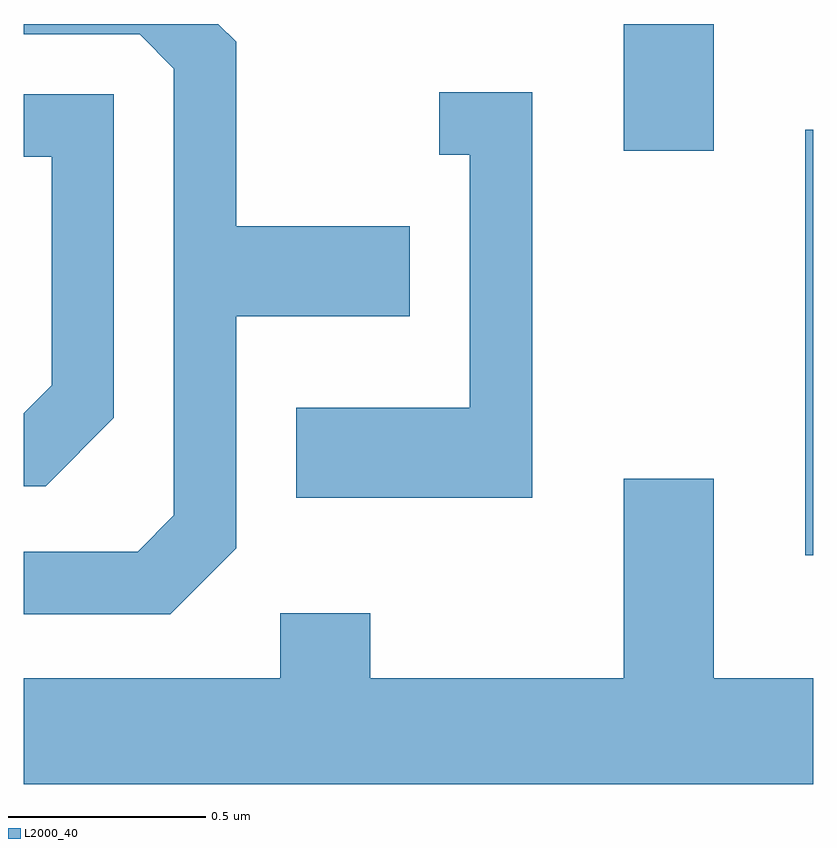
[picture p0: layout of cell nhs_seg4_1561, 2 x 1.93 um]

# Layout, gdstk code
import gdstk
lib = gdstk.Library(unit=1e-6, precision=1e-09)
def R(c, l, rs):  # rectangles x0, y0, x1, y1
    for r in rs: c.add(gdstk.rectangle(r[:2], r[2:], *l))
def P(c, l, *ps):  # polygons
    for p in ps: c.add(gdstk.Polygon(p, *l))
L2000_40 = (2000, 40)

nhs_seg4_1561 = lib.new_cell('nhs_seg4_1561')
R(nhs_seg4_1561, L2000_40, [(198.591,1308.636,198.611,1309.714), (198.131,1309.661,198.359,1309.982)])
P(nhs_seg4_1561, L2000_40, [(197.149,1308.654),(197.149,1309.241),(197.589,1309.241),(197.589,1309.469),(197.149,1309.469),(197.149,1309.937),(197.104,1309.982),(196.611,1309.982),(196.611,1309.956),(196.904,1309.956),(196.991,1309.869),(196.991,1308.737),(196.899,1308.644),(196.611,1308.644),(196.611,1308.486),(196.982,1308.486)],
  [(197.899,1309.809),(197.663,1309.809),(197.663,1309.651),(197.741,1309.651),(197.741,1309.009),(197.301,1309.009),(197.301,1308.781),(197.899,1308.781)],
  [(196.839,1308.984),(196.839,1309.804),(196.611,1309.804),(196.611,1309.646),(196.681,1309.646),(196.681,1309.067),(196.611,1308.996),(196.611,1308.811),(196.667,1308.811)],
  [(198.611,1308.324),(198.359,1308.324),(198.359,1308.829),(198.131,1308.829),(198.131,1308.324),(197.489,1308.324),(197.489,1308.489),(197.261,1308.489),(197.261,1308.324),(196.611,1308.324),(196.611,1308.056),(198.611,1308.056)])

lib.write_gds('nhs_seg4_1561.gds')
